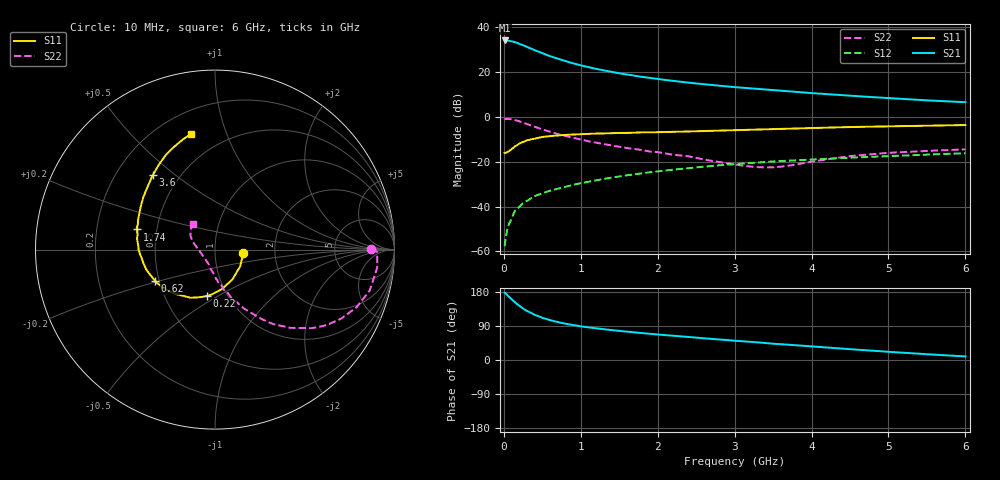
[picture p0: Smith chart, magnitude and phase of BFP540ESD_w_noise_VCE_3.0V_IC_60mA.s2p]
! Infineon Technologies  Discrete & RF Semiconductors
! BFP540ESD
! VCE =  3.0 V,  IC =  60 mA
! Common Emitter S-Parameters:  Nov 2015
# GHz  S  MA  R  50
!  f  S11  S21  S12  S22
! GHz  MAG  ANG  MAG  ANG  MAG  ANG  MAG  ANG
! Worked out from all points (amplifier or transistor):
!   210 points, 10 MHz to 6 GHz, reference 50 ohm
!   highest |S21| = 34.2 dB at 10 MHz (marker M1)
!   |S21| within 3 dB of that: start of sweep to 310.1 MHz
!   unconditionally stable (mu >= 1): start of sweep to 20.4 MHz; 1.32 GHz to end of sweep
!   at 185 MHz: K = 0.40, MSG = 36.8 dB, |S12| = -40.6 dB
!   at 1.52 GHz: K = 1.03, MAG = 21.9 dB, |S12| = -26.5 dB
!   at 6 GHz: K = 1.11, MAG = 9.4 dB, |S12| = -16.2 dB
!   lowest NFmin = 2.01 dB at 900 MHz
!   S11 on the Smith chart (normalised r, x): 10 MHz: 1.37, -0.06; 220 MHz: 0.80, -0.44; 620 MHz: 0.47, -0.19; 1.74 GHz: 0.39, +0.11; 3.6 GHz: 0.36, +0.42; 6 GHz: 0.33, +0.76
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0.01  0.1568 -7.4  51.13 177.9  0.0013 122.5  0.8716 0.3
0.02  0.1586 -15.9  50.56 176.5  0.0017 104.2  0.904 -0.9
0.05  0.1683 -33.6  50.79 170.1  0.0034 86.2  0.9094 -6.3
0.105  0.1947 -62.2  48.86 159.4  0.0056 82.0  0.887 -15.5
0.15  0.2233 -80.2  46.58 151.2  0.0083 77.7  0.8522 -22.1
0.2  0.2532 -95.1  43.4 143.0  0.0098 74.6  0.8014 -28.7
0.22  0.2616 -100.0  41.97 140.3  0.0106 73.2  0.7801 -30.8
0.26  0.2814 -109.0  39.35 134.6  0.0122 71.1  0.7392 -35.1
0.3  0.3008 -117.0  36.83 129.5  0.0133 70.1  0.6967 -38.9
0.4  0.3309 -131.7  31.05 119.3  0.017 68.7  0.6042 -46.2
0.5  0.3581 -142.9  26.52 111.3  0.0198 66.2  0.5266 -52.0
0.62  0.3769 -152.6  22.22 104.2  0.023 67.3  0.4551 -56.8
0.8  0.399 -163.9  17.62 95.8  0.0274 66.8  0.3737 -63.2
1.02  0.4116 -173.7  13.95 88.5  0.0338 66.7  0.3067 -68.6
1.3  0.4276 177.3  10.95 81.2  0.0414 65.4  0.2474 -74.0
1.74  0.4495 165.5  8.128 72.0  0.0536 62.5  0.1886 -84.1
2.02  0.4589 159.3  6.969 66.9  0.0613 60.3  0.162 -88.1
3.1  0.5094 138.2  4.499 49.5  0.0907 51.0  0.082 -121.4
3.6  0.5409 129.6  3.843 41.7  0.1035 46.0  0.0774 -159.8
4.1  0.5716 122.3  3.322 34.3  0.1142 41.2  0.1064 170.8
5.1  0.6226 110.1  2.578 20.4  0.1357 31.5  0.1614 147.9
6  0.6596 101.5  2.136 9.4  0.1546 24.2  0.189 131.0
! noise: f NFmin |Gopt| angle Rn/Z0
0.9  2.01  0.53  -140  0.17
1.8  2.16  0.55  -142  0.17
2.4  2.22  0.56  -131  0.22
3  2.36  0.58  -122  0.31
4  2.43  0.64  -102  0.57
5  2.56  0.7  -86  0.85
6  3.02  0.65  -82  1.34
